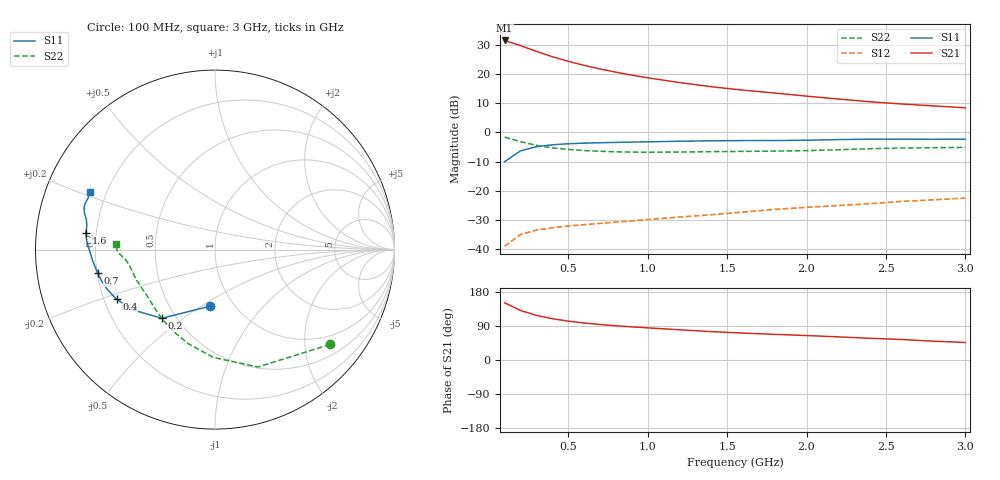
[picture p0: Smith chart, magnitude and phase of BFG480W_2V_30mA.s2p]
! Filename: 230BFG480.001
! Title: BFG480W
! Bias: Vce=2V; Ic=30mA
! Company: Philips Semiconductors NL
! User: Quality&Reliability T&D
! Measure time: 10 Nov 1999 / 11:53:39
#  MHz  S  MA  R 50
! Freq  S11  S21  S12  S22  :
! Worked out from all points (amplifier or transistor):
!   20 points, 100 MHz to 3 GHz, reference 50 ohm
!   highest |S21| = 31.6 dB at 100 MHz (marker M1)
!   |S21| within 3 dB of that: start of sweep to 262.3 MHz
!   unconditionally stable (mu >= 1): 1.177 GHz to end of sweep
!   at 400 MHz: K = 0.50, MSG = 29.4 dB, |S12| = -32.8 dB
!   at 1.2 GHz: K = 1.01, MAG = 22.6 dB, |S12| = -29.1 dB
!   at 3 GHz: K = 1.14, MAG = 13.3 dB, |S12| = -22.5 dB
!   S11 on the Smith chart (normalised r, x): 100 MHz: 0.78, -0.55; 200 MHz: 0.42, -0.42; 400 MHz: 0.25, -0.22; 700 MHz: 0.20, -0.10; 1.6 GHz: 0.16, +0.06; 3 GHz: 0.14, +0.22
100  0.3158 -94.7  38.22 151.0  0.0111 67.1  0.8307 -39.5
200  0.4835 -127.7  31.14 130.7  0.01761 53.3  0.6968 -69.9
300  0.5694 -143.9  24.85 117.8  0.02097 46.9  0.6007 -90.9
400  0.6138 -153.2  20.09 109.0  0.02303 44.5  0.5445 -106.0
500  0.6404 -159.9  16.77 102.6  0.02464 44.1  0.511 -117.1
600  0.6561 -164.7  14.26 97.7  0.02603 44.4  0.4895 -125.5
700  0.6666 -168.6  12.38 93.7  0.02734 46.0  0.4752 -132.1
800  0.6749 -171.8  10.89 90.3  0.02878 47.6  0.4655 -137.6
900  0.6838 -174.6  9.685 87.5  0.03016 49.6  0.4599 -142.2
1000  0.6911 -177.2  8.728 84.8  0.03188 51.3  0.4576 -146.3
1200  0.7068 178.6  7.222 79.8  0.03515 54.4  0.4608 -153.1
1400  0.719 175.4  6.122 74.9  0.0385 56.9  0.4681 -158.2
1600  0.726 172.5  5.346 71.0  0.0428 59.4  0.473 -162.2
1800  0.7262 169.5  4.765 67.6  0.04759 61.5  0.4783 -166.1
2000  0.7361 166.8  4.217 64.6  0.05163 63.6  0.4872 -170.4
2200  0.7555 164.3  3.761 61.0  0.05541 64.6  0.5047 -174.1
2400  0.7662 162.3  3.372 57.4  0.05971 65.1  0.5258 -176.7
2600  0.7674 160.3  3.087 54.1  0.06533 65.3  0.5412 -178.4
2800  0.7633 157.9  2.862 49.6  0.0696 64.6  0.5476 179.5
3000  0.7679 155.2  2.658 46.2  0.07458 64.6  0.5542 176.6
